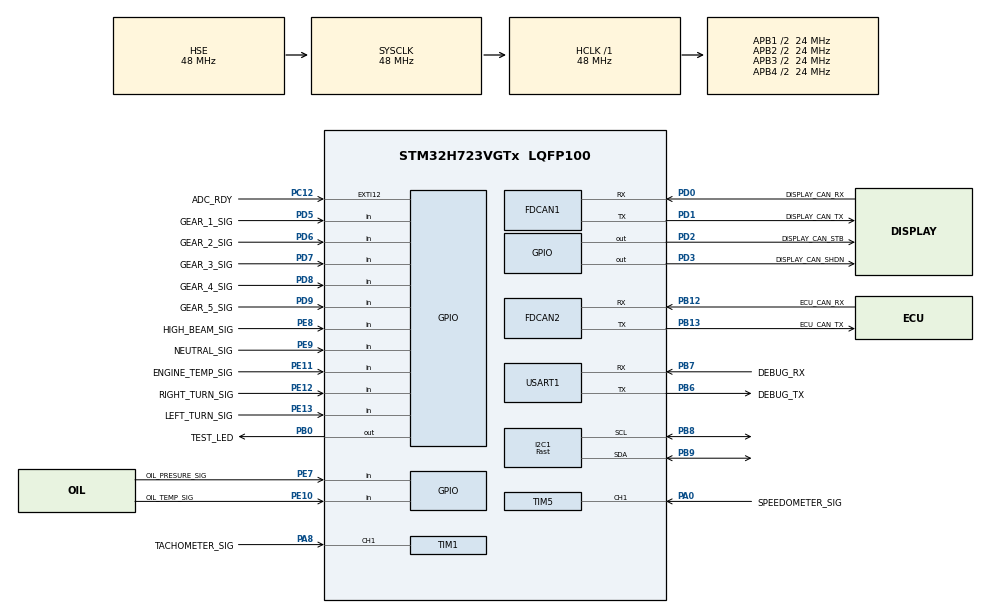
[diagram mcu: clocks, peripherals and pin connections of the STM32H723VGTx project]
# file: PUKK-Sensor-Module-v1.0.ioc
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CORTEX_M7.default_mode_Activation=1
FDCAN1.AutoRetransmission=ENABLE
FDCAN1.CalculateBaudRateNominal=198000
FDCAN1.CalculateTimeBitNominal=5050
FDCAN1.CalculateTimeQuantumNominal=50.505050505050505
FDCAN1.DataTimeSeg1=2
FDCAN1.FrameFormat=FDCAN_FRAME_FD_NO_BRS
FDCAN1.NominalPrescaler=1
FDCAN1.NominalTimeSeg1=86
FDCAN1.NominalTimeSeg2=13
FDCAN1.TxElmtSize=FDCAN_DATA_BYTES_12
FDCAN2.AutoRetransmission=ENABLE
FDCAN2.CalculateBaudRateNominal=198000
FDCAN2.CalculateTimeBitNominal=5050
FDCAN2.CalculateTimeQuantumNominal=50.505050505050505
FDCAN2.DataPrescaler=25
FDCAN2.DataTimeSeg1=2
FDCAN2.FrameFormat=FDCAN_FRAME_FD_NO_BRS
FDCAN2.MessageRAMOffset=11
FDCAN2.NominalPrescaler=1
FDCAN2.NominalSyncJumpWidth=13
FDCAN2.NominalTimeSeg1=86
FDCAN2.NominalTimeSeg2=13
FDCAN2.RxFifo1ElmtSize=FDCAN_DATA_BYTES_12
FDCAN2.RxFifo1ElmtsNbr=1
FDCAN2.TxElmtSize=FDCAN_DATA_BYTES_12
I2C1.I2C_Speed_Mode=I2C_Fast
I2C1.Timing=0x00200C28
Mcu.Family=STM32H7
Mcu.Name=STM32H723VGTx
Mcu.Package=LQFP100
NVIC.EXTI15_10_IRQn=true\:0\:0\:false\:false\:true\:true\:true\:true
NVIC.FDCAN1_IT0_IRQn=true\:0\:0\:false\:false\:true\:true\:true\:true
NVIC.FDCAN2_IT0_IRQn=true\:0\:0\:false\:false\:true\:true\:true\:true
NVIC.PriorityGroup=NVIC_PRIORITYGROUP_4
NVIC.TIM6_DAC_IRQn=true\:0\:0\:false\:false\:true\:true\:true\:true
NVIC.USART1_IRQn=true\:0\:0\:false\:false\:true\:true\:true\:true
PA0.GPIO_Label=SPEEDOMETER_SIG
PA0.Signal=S_TIM5_CH1
PA13(JTMS/SWDIO).Mode=Serial_Wire
PA13(JTMS/SWDIO).Signal=DEBUG_JTMS-SWDIO
PA14(JTCK/SWCLK).Mode=Serial_Wire
PA14(JTCK/SWCLK).Signal=DEBUG_JTCK-SWCLK
PA8.GPIO_Label=TACHOMETER_SIG
PA8.Signal=S_TIM1_CH1
PB0.GPIO_Label=TEST_LED
PB0.Signal=GPIO_Output
PB12.GPIO_Label=ECU_CAN_RX
PB12.Mode=FDCAN_Activate
PB12.Signal=FDCAN2_RX
PB13.GPIO_Label=ECU_CAN_TX
PB13.Mode=FDCAN_Activate
PB13.Signal=FDCAN2_TX
PB3(JTDO/TRACESWO).Signal=DEBUG_JTDO-SWO
PB6.GPIO_Label=DEBUG_TX
PB6.Mode=Asynchronous
PB6.Signal=USART1_TX
PB7.GPIO_Label=DEBUG_RX
PB7.Mode=Asynchronous
PB7.Signal=USART1_RX
PB8.GPIO_Speed=GPIO_SPEED_FREQ_LOW
PB8.Mode=I2C
PB8.Signal=I2C1_SCL
PB9.GPIO_Speed=GPIO_SPEED_FREQ_LOW
PB9.Mode=I2C
PB9.Signal=I2C1_SDA
PC12.GPIO_Label=ADC_RDY
PC12.GPIO_ModeDefaultEXTI=GPIO_MODE_IT_RISING
PC12.Signal=GPXTI12
PD0.GPIO_Label=DISPLAY_CAN_RX
PD0.Mode=FDCAN_Activate
PD0.Signal=FDCAN1_RX
PD1.GPIO_Label=DISPLAY_CAN_TX
PD1.Mode=FDCAN_Activate
PD1.Signal=FDCAN1_TX
PD2.GPIO_Label=DISPLAY_CAN_STB
PD2.PinState=GPIO_PIN_SET
PD2.Signal=GPIO_Output
PD3.GPIO_Label=DISPLAY_CAN_SHDN
PD3.Signal=GPIO_Output
PD5.GPIO_Label=GEAR_1_SIG
PD5.Signal=GPIO_Input
PD6.GPIO_Label=GEAR_2_SIG
PD6.Signal=GPIO_Input
PD7.GPIO_Label=GEAR_3_SIG
PD7.Signal=GPIO_Input
PD8.GPIO_Label=GEAR_4_SIG
PD8.Signal=GPIO_Input
PD9.GPIO_Label=GEAR_5_SIG
PD9.Signal=GPIO_Input
PE10.GPIO_Label=OIL_TEMP_SIG
PE10.Signal=GPIO_Input
PE11.GPIO_Label=ENGINE_TEMP_SIG
PE11.Signal=GPIO_Input
PE12.GPIO_Label=RIGHT_TURN_SIG
PE12.Signal=GPIO_Input
PE13.GPIO_Label=LEFT_TURN_SIG
PE13.Signal=GPIO_Input
PE7.GPIO_Label=OIL_PRESURE_SIG
PE7.Signal=GPIO_Input
PE8.GPIO_Label=HIGH_BEAM_SIG
PE8.Signal=GPIO_Input
PE9.GPIO_Label=NEUTRAL_SIG
PE9.Signal=GPIO_Input
PH0-OSC_IN.Mode=HSE-External-Oscillator
PH0-OSC_IN.Signal=RCC_OSC_IN
PH1-OSC_OUT.Mode=HSE-External-Oscillator
PH1-OSC_OUT.Signal=RCC_OSC_OUT
ProjectManager.HeapSize=0x200
ProjectManager.StackSize=0x400
ProjectManager.TargetToolchain=STM32CubeIDE
RCC.ADCFreq_Value=96750000
RCC.APB1Freq_Value=24000000
RCC.APB2Freq_Value=24000000
RCC.APB3Freq_Value=24000000
RCC.APB4Freq_Value=24000000
RCC.CortexFreq_Value=48000000
RCC.D1PPRE=RCC_APB3_DIV2
RCC.D2PPRE1=RCC_APB1_DIV2
RCC.D2PPRE2=RCC_APB2_DIV2
RCC.D3PPRE=RCC_APB4_DIV2
RCC.DIVM1=4
RCC.DIVN1=16
RCC.DIVP1=1
RCC.DIVQ1=10
RCC.HCLKFreq_Value=48000000
RCC.HSE_VALUE=48000000
RCC.PLL2FRACN=0
RCC.PLL3FRACN=0
RCC.PLLFRACN=4096
RCC.PLLSourceVirtual=RCC_PLLSOURCE_HSE
RCC.SYSCLKFreq_VALUE=48000000
RCC.SYSCLKSource=RCC_SYSCLKSOURCE_HSE
RCC.USBFreq_Value=19800000
SH.S_TIM1_CH1.0=TIM1_CH1,TriggerSource_TI1ED
SH.S_TIM5_CH1.0=TIM5_CH1,TriggerSource_TI1ED
TIM6.Period=47999
USART1.VirtualMode-Asynchronous=VM_ASYNC
VP_MEMORYMAP_VS_MEMORYMAP.Mode=CurAppReg
VP_TIM1_VS_ControllerModeClock.Mode=Clock Mode
VP_TIM5_VS_ControllerModeClock.Mode=Clock Mode
VP_TIM6_VS_ClockSourceINT.Mode=Enable_Timer
board=custom

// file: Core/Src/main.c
/* USER CODE BEGIN Header */
/**
  ******************************************************************************
  * @file           : main.c
  * @brief          : Main program body
  ******************************************************************************
  * @attention
  *
  * Copyright (c) 2025 STMicroelectronics.
  * All rights reserved.
  *
  * This software is licensed under terms that can be found in the LICENSE file
  * in the root directory of this software component.
  * If no LICENSE file comes with this software, it is provided AS-IS.
  *
  ******************************************************************************
  */
/* USER CODE END Header */
#include "main.h"

/* USER CODE BEGIN Includes */
#include <stdio.h>
#include <stdarg.h>

#include "App.h"
#include "CAN_bus.h"
/* USER CODE END Includes */

/* USER CODE BEGIN PD */
#define TAG       "[ MAIN ] "
/* USER CODE END PD */

/* USER CODE BEGIN PV */

FDCAN_HandleTypeDef hfdcan1;
FDCAN_HandleTypeDef hfdcan2;

FDCAN_TxHeaderTypeDef TxHeader1;

FDCAN_TxHeaderTypeDef TxHeader2;

I2C_HandleTypeDef hi2c1;

TIM_HandleTypeDef htim1;
TIM_HandleTypeDef htim5;
TIM_HandleTypeDef htim6;

UART_HandleTypeDef huart1;

/* USER CODE END PV */

void SystemClock_Config(void);
static void MPU_Config(void);
static void MX_GPIO_Init(void);
static void MX_FDCAN1_Init(void);
static void MX_FDCAN2_Init(void);
static void MX_I2C1_Init(void);
static void MX_USART1_UART_Init(void);
static void MX_TIM6_Init(void);
static void MX_TIM1_Init(void);
static void MX_TIM5_Init(void);

/* USER CODE BEGIN 0 */

//void itm_printf(uint32_t port, const char* format, ...) {
//    char buffer[256]; // Temporary buffer for formatted string
//    va_list args;
//    va_start(args, format);
//    int length = vsnprintf(buffer, sizeof(buffer), format, args);
//    va_end(args);
//
//    for (int i = 0; i < length; ++i) {
//        ITM_SendChar((uint8_t)buffer[i]);
//
//    }
//}

void itm_printf(uint32_t port, const char* format, ...) {
    char buffer[256]; // Temporary buffer for formatted string
    va_list args;
    va_start(args, format);
    int length = vsnprintf(buffer, sizeof(buffer), format, args);
    va_end(args);

    for (int i = 0; i < length; ++i) {
        ITM_SendChar(port, (uint8_t)buffer[i]);
    }
}

// redirecting standard functions on debug_uart
#ifdef __GNUC__
int __io_putchar(int ch)
#else
int fputc(int ch, FILE *f)
#endif
{
    HAL_UART_Transmit(&huart1, (uint8_t*)&ch, 1, 10);
    return ch;
}

#ifdef __GNUC__
int __io_getchar(void)
#else
int fgetc(FILE *f)
#endif
{
    uint8_t ch = 0;
    HAL_UART_Receive(&huart1, &ch, 1, 10);
    return ch;
}

// non-blocking test led blink function
void blink_test_led()
{
	static uint32_t timeStamp = 0;
	uint32_t now = HAL_GetTick();

	if((now - timeStamp) > (CHECK_FLAG(OP_RUNNING_FLAG_BIT|CAN_COMM_FLAG_BIT) ? OP_BLINK_TIME : DEFAULT_BLINK_TIME))
	{
		HAL_GPIO_TogglePin(TEST_LED_GPIO_Port, TEST_LED_Pin);
		timeStamp = now;

	}
}
/* USER CODE END 0 */

int main(void)
{

  /* MPU Configuration--------------------------------------------------------*/
  MPU_Config();

  /* MCU Configuration--------------------------------------------------------*/

  /* Reset of all peripherals, Initializes the Flash interface and the Systick. */
  HAL_Init();

  /* Configure the system clock */
  SystemClock_Config();

  printf("HSE_VALUE = %lu Hz\n", (uint32_t)HSE_VALUE);

  /* Initialize all configured peripherals */
  MX_GPIO_Init();

  HAL_GPIO_WritePin(DISPLAY_CAN_STB_GPIO_Port, DISPLAY_CAN_STB_Pin, GPIO_PIN_RESET);

  MX_FDCAN1_Init();
  MX_FDCAN2_Init();
  MX_I2C1_Init();
  MX_USART1_UART_Init();
  MX_TIM6_Init();
  MX_TIM1_Init();
  MX_TIM5_Init();
  /* USER CODE BEGIN 2 */
  INIT_ITM_DEBUG(ITM_CH_1, ITM_CH_2, ITM_CH_3, ITM_CH_4);
  app_init(&hfdcan1, &hfdcan2, &hi2c1, &htim1, &htim5, &htim6);

  console_init(&huart1);

  LOG_ITM_1("\nLOG_ITM_1\n");
  LOG_ITM_2("\nLOG_ITM_2\n");
  LOG_ITM_3("\nLOG_ITM_3\n");

//  Can1TxData1[0]  = 0;
//  Can1TxData1[1]  = 0xAD;
//  Can1TxData1[2]  = 0;
//  Can1TxData1[3]  = 0xAB;
//  Can1TxData1[4]  = 0;
//  Can1TxData1[5]  = 0xAC;
//  Can1TxData1[6]  = 0;
//  Can1TxData1[7]  = 0xAE;
//  status2 = HAL_FDCAN_AddMessageToTxFifoQ(&hfdcan1, &TxHeader1, Can1TxData1);
//	if(status2 != HAL_OK) {
//		error_count2++;
//		LOG_ITM_1("CAN2 TX Error #%lu: 0x%08lX\n", error_count2, hfdcan1.ErrorCode);
//
//		if (hfdcan1.ErrorCode & HAL_FDCAN_ERROR_FIFO_FULL) {
//			LOG_ITM_1("CAN2: TX FIFO Full - waiting...\n");
//			HAL_Delay(10);
//		}
//	} else {
//		LOG_ITM_1("CAN2: Message sent successfully\n");
//	}

  while (1)
  {

    /* USER CODE END WHILE */

    /* USER CODE BEGIN 3 */
	  blink_test_led();
	  app_execute(); // CAN BUS Transmission is also in this function

//		HAL_Delay(250);

  }
  /* USER CODE END 3 */
}

void SystemClock_Config(void)
{
  RCC_OscInitTypeDef RCC_OscInitStruct = {0};
  RCC_ClkInitTypeDef RCC_ClkInitStruct = {0};

  /** Supply configuration update enable
  */
  HAL_PWREx_ConfigSupply(PWR_LDO_SUPPLY);

  /** Configure the main internal regulator output voltage
  */
  __HAL_PWR_VOLTAGESCALING_CONFIG(PWR_REGULATOR_VOLTAGE_SCALE3);

  while(!__HAL_PWR_GET_FLAG(PWR_FLAG_VOSRDY)) {}

  /** Initializes the RCC Oscillators according to the specified parameters
  * in the RCC_OscInitTypeDef structure.
  */
  RCC_OscInitStruct.OscillatorType = RCC_OSCILLATORTYPE_HSE;
  RCC_OscInitStruct.HSEState = RCC_HSE_ON;
  RCC_OscInitStruct.PLL.PLLState = RCC_PLL_ON;
  RCC_OscInitStruct.PLL.PLLSource = RCC_PLLSOURCE_HSE;
  RCC_OscInitStruct.PLL.PLLM = 3;
  RCC_OscInitStruct.PLL.PLLN = 12;
  RCC_OscInitStruct.PLL.PLLP = 1;
  RCC_OscInitStruct.PLL.PLLQ = 4;
  RCC_OscInitStruct.PLL.PLLR = 2;
  RCC_OscInitStruct.PLL.PLLRGE = RCC_PLL1VCIRANGE_3;
  RCC_OscInitStruct.PLL.PLLVCOSEL = RCC_PLL1VCOWIDE;
  RCC_OscInitStruct.PLL.PLLFRACN = 0;
  if (HAL_RCC_OscConfig(&RCC_OscInitStruct) != HAL_OK)
  {
    Error_Handler();
  }

  /** Initializes the CPU, AHB and APB buses clocks
  */
  RCC_ClkInitStruct.ClockType = RCC_CLOCKTYPE_HCLK|RCC_CLOCKTYPE_SYSCLK
                              |RCC_CLOCKTYPE_PCLK1|RCC_CLOCKTYPE_PCLK2
                              |RCC_CLOCKTYPE_D3PCLK1|RCC_CLOCKTYPE_D1PCLK1;
  RCC_ClkInitStruct.SYSCLKSource = RCC_SYSCLKSOURCE_HSE;
  RCC_ClkInitStruct.SYSCLKDivider = RCC_SYSCLK_DIV1;
  RCC_ClkInitStruct.AHBCLKDivider = RCC_HCLK_DIV1;
  RCC_ClkInitStruct.APB3CLKDivider = RCC_APB3_DIV2;
  RCC_ClkInitStruct.APB1CLKDivider = RCC_APB1_DIV2;
  RCC_ClkInitStruct.APB2CLKDivider = RCC_APB2_DIV2;
  RCC_ClkInitStruct.APB4CLKDivider = RCC_APB4_DIV2;

  if (HAL_RCC_ClockConfig(&RCC_ClkInitStruct, FLASH_LATENCY_1) != HAL_OK)
  {
    Error_Handler();
  }
}

// FDCAN1 Configuration Fixes
static void MX_FDCAN1_Init(void)
{

	hfdcan1.Instance = FDCAN1;
	hfdcan1.Init.FrameFormat = FDCAN_FRAME_CLASSIC;
	hfdcan1.Init.Mode = FDCAN_MODE_NORMAL;
	hfdcan1.Init.AutoRetransmission = ENABLE;
	hfdcan1.Init.TransmitPause = DISABLE;
	hfdcan1.Init.ProtocolException = DISABLE;

	//  Same 25 kbps timing as FDCAN1
	hfdcan1.Init.NominalPrescaler = 120;
	hfdcan1.Init.NominalSyncJumpWidth = 1;
	hfdcan1.Init.NominalTimeSeg1 = 13;
	hfdcan1.Init.NominalTimeSeg2 = 2;

	hfdcan1.Init.DataPrescaler = 1;
	hfdcan1.Init.DataSyncJumpWidth = 1;
	hfdcan1.Init.DataTimeSeg1 = 1;
	hfdcan1.Init.DataTimeSeg2 = 1;

	hfdcan1.Init.MessageRAMOffset = 0;
	hfdcan1.Init.StdFiltersNbr = 1;
	hfdcan1.Init.ExtFiltersNbr = 0;
	hfdcan1.Init.RxFifo0ElmtsNbr = 8;
	hfdcan1.Init.RxFifo0ElmtSize = FDCAN_DATA_BYTES_8;
	hfdcan1.Init.RxFifo1ElmtsNbr = 0;
	hfdcan1.Init.RxFifo1ElmtSize = FDCAN_DATA_BYTES_8;
	hfdcan1.Init.RxBuffersNbr = 0;
	hfdcan1.Init.RxBufferSize = FDCAN_DATA_BYTES_8;
	hfdcan1.Init.TxEventsNbr = 0;
	hfdcan1.Init.TxBuffersNbr = 0;
	hfdcan1.Init.TxFifoQueueElmtsNbr = 10;
	hfdcan1.Init.TxFifoQueueMode = FDCAN_TX_FIFO_OPERATION;
	hfdcan1.Init.TxElmtSize = FDCAN_DATA_BYTES_8;

	if (HAL_FDCAN_Init(&hfdcan1) != HAL_OK) {
		Error_Handler();
	}

	// RX Filter Configuration
	FDCAN_FilterTypeDef sFilterConfig;
	sFilterConfig.IdType = FDCAN_STANDARD_ID;
	sFilterConfig.FilterIndex = 0;
	sFilterConfig.FilterType = FDCAN_FILTER_MASK;
	sFilterConfig.FilterConfig = FDCAN_FILTER_TO_RXFIFO0;
	sFilterConfig.FilterID1 = 0x000;
	sFilterConfig.FilterID2 = 0x000; // Accept all IDs

	if (HAL_FDCAN_ConfigFilter(&hfdcan1, &sFilterConfig) != HAL_OK) {
		Error_Handler();
	}

	HAL_FDCAN_ConfigGlobalFilter(&hfdcan1, FDCAN_REJECT, FDCAN_REJECT,
								FDCAN_REJECT_REMOTE, FDCAN_REJECT_REMOTE);

	if(HAL_FDCAN_Start(&hfdcan1) != HAL_OK) {
		Error_Handler();
	}

	if(HAL_FDCAN_ActivateNotification(&hfdcan1, FDCAN_IT_RX_FIFO0_NEW_MESSAGE, 0) != HAL_OK) {
		Error_Handler();
	}

	// TX Header Configuration
	TxHeader1.Identifier = 0x322; // Set as an Example later in this code it is changed
	TxHeader1.IdType = FDCAN_STANDARD_ID;
	TxHeader1.TxFrameType = FDCAN_DATA_FRAME;
	TxHeader1.DataLength = FDCAN_DLC_BYTES_8;              //  8 bytes max
	TxHeader1.ErrorStateIndicator = FDCAN_ESI_ACTIVE;
	TxHeader1.BitRateSwitch = FDCAN_BRS_OFF;
	TxHeader1.FDFormat = FDCAN_CLASSIC_CAN;                //  Classic CAN
	TxHeader1.TxEventFifoControl = FDCAN_NO_TX_EVENTS;
	TxHeader1.MessageMarker = 0;
}

// FDCAN2 Configuration Fixes
static void MX_FDCAN2_Init(void)
{
	hfdcan2.Instance = FDCAN2;
	hfdcan2.Init.FrameFormat = FDCAN_FRAME_CLASSIC;
	hfdcan2.Init.Mode = FDCAN_MODE_NORMAL;
	hfdcan2.Init.AutoRetransmission = ENABLE;
	hfdcan2.Init.TransmitPause = DISABLE;
	hfdcan2.Init.ProtocolException = DISABLE;

	//  Same 25 kbps timing as FDCAN1
	hfdcan2.Init.NominalPrescaler = 120;
	hfdcan2.Init.NominalSyncJumpWidth = 1;
	hfdcan2.Init.NominalTimeSeg1 = 13;
	hfdcan2.Init.NominalTimeSeg2 = 2;

	hfdcan2.Init.DataPrescaler = 1;
	hfdcan2.Init.DataSyncJumpWidth = 1;
	hfdcan2.Init.DataTimeSeg1 = 1;
	hfdcan2.Init.DataTimeSeg2 = 1;

	hfdcan2.Init.MessageRAMOffset = 256;
	hfdcan2.Init.StdFiltersNbr = 1;
	hfdcan2.Init.ExtFiltersNbr = 0;
	hfdcan2.Init.RxFifo0ElmtsNbr = 0;
	hfdcan2.Init.RxFifo0ElmtSize = FDCAN_DATA_BYTES_8;
	hfdcan2.Init.RxFifo1ElmtsNbr = 8;
	hfdcan2.Init.RxFifo1ElmtSize = FDCAN_DATA_BYTES_8;
	hfdcan2.Init.RxBuffersNbr = 0;
	hfdcan2.Init.RxBufferSize = FDCAN_DATA_BYTES_8;
	hfdcan2.Init.TxEventsNbr = 0;
	hfdcan2.Init.TxBuffersNbr = 0;
	hfdcan2.Init.TxFifoQueueElmtsNbr = 10;
	hfdcan2.Init.TxFifoQueueMode = FDCAN_TX_FIFO_OPERATION;
	hfdcan2.Init.TxElmtSize = FDCAN_DATA_BYTES_8;

	if (HAL_FDCAN_Init(&hfdcan2) != HAL_OK) {
		Error_Handler();
	}

	// RX Filter Configuration
	FDCAN_FilterTypeDef sFilterConfig;
	sFilterConfig.IdType = FDCAN_STANDARD_ID;
	sFilterConfig.FilterIndex = 0;
	sFilterConfig.FilterType = FDCAN_FILTER_MASK;
	sFilterConfig.FilterConfig = FDCAN_FILTER_TO_RXFIFO1;
	sFilterConfig.FilterID1 = 0x000;
	sFilterConfig.FilterID2 = 0x000; // Accept all IDs

	if (HAL_FDCAN_ConfigFilter(&hfdcan2, &sFilterConfig) != HAL_OK) {
		Error_Handler();
	}

	HAL_FDCAN_ConfigGlobalFilter(&hfdcan2, FDCAN_REJECT, FDCAN_REJECT,
								FDCAN_REJECT_REMOTE, FDCAN_REJECT_REMOTE);

	if(HAL_FDCAN_Start(&hfdcan2) != HAL_OK) {
		Error_Handler();
	}

	if(HAL_FDCAN_ActivateNotification(&hfdcan2, FDCAN_IT_RX_FIFO1_NEW_MESSAGE, 0) != HAL_OK) {
		Error_Handler();
	}

	// TX Header Configuration
	TxHeader2.Identifier = 0x200; // set as an example later on it can be changed in code
	TxHeader2.IdType = FDCAN_STANDARD_ID;
	TxHeader2.TxFrameType = FDCAN_DATA_FRAME;
	TxHeader2.DataLength = FDCAN_DLC_BYTES_8;              //  8 bytes max
	TxHeader2.ErrorStateIndicator = FDCAN_ESI_ACTIVE;
	TxHeader2.BitRateSwitch = FDCAN_BRS_OFF;
	TxHeader2.FDFormat = FDCAN_CLASSIC_CAN;                //  Classic CAN
	TxHeader2.TxEventFifoControl = FDCAN_NO_TX_EVENTS;
	TxHeader2.MessageMarker = 0;
}

static void MX_I2C1_Init(void)
{

  hi2c1.Instance = I2C1;
  hi2c1.Init.Timing = 0x00200C28;
  hi2c1.Init.OwnAddress1 = 0;
  hi2c1.Init.AddressingMode = I2C_ADDRESSINGMODE_7BIT;
  hi2c1.Init.DualAddressMode = I2C_DUALADDRESS_DISABLE;
  hi2c1.Init.OwnAddress2 = 0;
  hi2c1.Init.OwnAddress2Masks = I2C_OA2_NOMASK;
  hi2c1.Init.GeneralCallMode = I2C_GENERALCALL_DISABLE;
  hi2c1.Init.NoStretchMode = I2C_NOSTRETCH_DISABLE;
  if (HAL_I2C_Init(&hi2c1) != HAL_OK)
  {
    Error_Handler();
  }

  /** Configure Analogue filter
  */
  if (HAL_I2CEx_ConfigAnalogFilter(&hi2c1, I2C_ANALOGFILTER_ENABLE) != HAL_OK)
  {
    Error_Handler();
  }

  /** Configure Digital filter
  */
  if (HAL_I2CEx_ConfigDigitalFilter(&hi2c1, 0) != HAL_OK)
  {
    Error_Handler();
  }

}

static void MX_TIM1_Init(void)
{

  TIM_SlaveConfigTypeDef sSlaveConfig = {0};
  TIM_MasterConfigTypeDef sMasterConfig = {0};

  htim1.Instance = TIM1;
  htim1.Init.Prescaler = 0;
  htim1.Init.CounterMode = TIM_COUNTERMODE_UP;
  htim1.Init.Period = 65535;
  htim1.Init.ClockDivision = TIM_CLOCKDIVISION_DIV1;
  htim1.Init.RepetitionCounter = 0;
  htim1.Init.AutoReloadPreload = TIM_AUTORELOAD_PRELOAD_DISABLE;
  if (HAL_TIM_Base_Init(&htim1) != HAL_OK)
  {
    Error_Handler();
  }
  sSlaveConfig.SlaveMode = TIM_SLAVEMODE_EXTERNAL1;
  sSlaveConfig.InputTrigger = TIM_TS_TI1F_ED;
  sSlaveConfig.TriggerFilter = 0;
  if (HAL_TIM_SlaveConfigSynchro(&htim1, &sSlaveConfig) != HAL_OK)
  {
    Error_Handler();
  }
  sMasterConfig.MasterOutputTrigger = TIM_TRGO_RESET;
  sMasterConfig.MasterOutputTrigger2 = TIM_TRGO2_RESET;
  sMasterConfig.MasterSlaveMode = TIM_MASTERSLAVEMODE_DISABLE;
  if (HAL_TIMEx_MasterConfigSynchronization(&htim1, &sMasterConfig) != HAL_OK)
  {
    Error_Handler();
  }

}

static void MX_TIM5_Init(void)
{

  TIM_SlaveConfigTypeDef sSlaveConfig = {0};
  TIM_MasterConfigTypeDef sMasterConfig = {0};

  htim5.Instance = TIM5;
  htim5.Init.Prescaler = 0;
  htim5.Init.CounterMode = TIM_COUNTERMODE_UP;
  htim5.Init.Period = 4294967295;
  htim5.Init.ClockDivision = TIM_CLOCKDIVISION_DIV1;
  htim5.Init.AutoReloadPreload = TIM_AUTORELOAD_PRELOAD_DISABLE;
  if (HAL_TIM_Base_Init(&htim5) != HAL_OK)
  {
    Error_Handler();
  }
  sSlaveConfig.SlaveMode = TIM_SLAVEMODE_EXTERNAL1;
  sSlaveConfig.InputTrigger = TIM_TS_TI1F_ED;
  sSlaveConfig.TriggerFilter = 0;
  if (HAL_TIM_SlaveConfigSynchro(&htim5, &sSlaveConfig) != HAL_OK)
  {
    Error_Handler();
  }
  sMasterConfig.MasterOutputTrigger = TIM_TRGO_RESET;
  sMasterConfig.MasterSlaveMode = TIM_MASTERSLAVEMODE_DISABLE;
  if (HAL_TIMEx_MasterConfigSynchronization(&htim5, &sMasterConfig) != HAL_OK)
  {
    Error_Handler();
  }

}

static void MX_TIM6_Init(void)
{

  /* USER CODE BEGIN TIM6_Init 0 */
#if(!USE_SYSTICK_HANDLER)
  LOG_ITM_1(TAG "Using TIM6 as base timer\n");
  /* USER CODE END TIM6_Init 0 */

  TIM_MasterConfigTypeDef sMasterConfig = {0};

  htim6.Instance = TIM6;
  htim6.Init.Prescaler = 0;
  htim6.Init.CounterMode = TIM_COUNTERMODE_UP;
  htim6.Init.Period = 47999;
  htim6.Init.AutoReloadPreload = TIM_AUTORELOAD_PRELOAD_DISABLE;
  if (HAL_TIM_Base_Init(&htim6) != HAL_OK)
  {
    Error_Handler();
  }
  sMasterConfig.MasterOutputTrigger = TIM_TRGO_RESET;
  sMasterConfig.MasterSlaveMode = TIM_MASTERSLAVEMODE_DISABLE;
  if (HAL_TIMEx_MasterConfigSynchronization(&htim6, &sMasterConfig) != HAL_OK)
  {
    Error_Handler();
  }
  /* USER CODE BEGIN TIM6_Init 2 */
#else
  LOG_ITM_1(TAG "Using SYSTICK as base timer\n");
#endif
  /* USER CODE END TIM6_Init 2 */

}

static void MX_USART1_UART_Init(void)
{

  huart1.Instance = USART1;
  huart1.Init.BaudRate = 115200;
  huart1.Init.WordLength = UART_WORDLENGTH_8B;
  huart1.Init.StopBits = UART_STOPBITS_1;
  huart1.Init.Parity = UART_PARITY_NONE;
  huart1.Init.Mode = UART_MODE_TX_RX;
  huart1.Init.HwFlowCtl = UART_HWCONTROL_NONE;
  huart1.Init.OverSampling = UART_OVERSAMPLING_16;
  huart1.Init.OneBitSampling = UART_ONE_BIT_SAMPLE_DISABLE;
  huart1.Init.ClockPrescaler = UART_PRESCALER_DIV1;
  huart1.AdvancedInit.AdvFeatureInit = UART_ADVFEATURE_NO_INIT;
  if (HAL_UART_Init(&huart1) != HAL_OK)
  {
    Error_Handler();
  }
  if (HAL_UARTEx_SetTxFifoThreshold(&huart1, UART_TXFIFO_THRESHOLD_1_8) != HAL_OK)
  {
    Error_Handler();
  }
  if (HAL_UARTEx_SetRxFifoThreshold(&huart1, UART_RXFIFO_THRESHOLD_1_8) != HAL_OK)
  {
    Error_Handler();
  }
  if (HAL_UARTEx_DisableFifoMode(&huart1) != HAL_OK)
  {
    Error_Handler();
  }

}

static void MX_GPIO_Init(void)
{
  GPIO_InitTypeDef GPIO_InitStruct = {0};

  /* GPIO Ports Clock Enable */
  __HAL_RCC_GPIOH_CLK_ENABLE();
  __HAL_RCC_GPIOA_CLK_ENABLE();
  __HAL_RCC_GPIOB_CLK_ENABLE();
  __HAL_RCC_GPIOE_CLK_ENABLE();
  __HAL_RCC_GPIOD_CLK_ENABLE();
  __HAL_RCC_GPIOC_CLK_ENABLE();

  /*Configure GPIO pin Output Level */
  HAL_GPIO_WritePin(TEST_LED_GPIO_Port, TEST_LED_Pin, GPIO_PIN_RESET);

  /*Configure GPIO pin Output Level */
  HAL_GPIO_WritePin(DISPLAY_CAN_STB_GPIO_Port, DISPLAY_CAN_STB_Pin, GPIO_PIN_SET);

  /*Configure GPIO pin Output Level */
  HAL_GPIO_WritePin(DISPLAY_CAN_SHDN_GPIO_Port, DISPLAY_CAN_SHDN_Pin, GPIO_PIN_RESET);

  /*Configure GPIO pin : TEST_LED_Pin */
  GPIO_InitStruct.Pin = TEST_LED_Pin;
  GPIO_InitStruct.Mode = GPIO_MODE_OUTPUT_PP;
  GPIO_InitStruct.Pull = GPIO_NOPULL;
  GPIO_InitStruct.Speed = GPIO_SPEED_FREQ_LOW;
  HAL_GPIO_Init(TEST_LED_GPIO_Port, &GPIO_InitStruct);

  /*Configure GPIO pins : OIL_PRESURE_SIG_Pin HIGH_BEAM_SIG_Pin NEUTRAL_SIG_Pin OIL_TEMP_SIG_Pin
                           ENGINE_TEMP_SIG_Pin RIGHT_TURN_SIG_Pin LEFT_TURN_SIG_Pin */
  GPIO_InitStruct.Pin = OIL_PRESURE_SIG_Pin|HIGH_BEAM_SIG_Pin|NEUTRAL_SIG_Pin|OIL_TEMP_SIG_Pin
                          |ENGINE_TEMP_SIG_Pin|RIGHT_TURN_SIG_Pin|LEFT_TURN_SIG_Pin;
  GPIO_InitStruct.Mode = GPIO_MODE_INPUT;
  GPIO_InitStruct.Pull = GPIO_NOPULL;
  HAL_GPIO_Init(GPIOE, &GPIO_InitStruct);

  /*Configure GPIO pins : GEAR_4_SIG_Pin GEAR_5_SIG_Pin GEAR_1_SIG_Pin GEAR_2_SIG_Pin
                           GEAR_3_SIG_Pin */
  GPIO_InitStruct.Pin = GEAR_4_SIG_Pin|GEAR_5_SIG_Pin|GEAR_1_SIG_Pin|GEAR_2_SIG_Pin
                          |GEAR_3_SIG_Pin;
  GPIO_InitStruct.Mode = GPIO_MODE_INPUT;
  GPIO_InitStruct.Pull = GPIO_NOPULL;
  HAL_GPIO_Init(GPIOD, &GPIO_InitStruct);

  /*Configure GPIO pin : ADC_RDY_Pin */
  GPIO_InitStruct.Pin = ADC_RDY_Pin;
  GPIO_InitStruct.Mode = GPIO_MODE_IT_RISING;
  GPIO_InitStruct.Pull = GPIO_NOPULL;
  HAL_GPIO_Init(ADC_RDY_GPIO_Port, &GPIO_InitStruct);

  /*Configure GPIO pins : DISPLAY_CAN_STB_Pin DISPLAY_CAN_SHDN_Pin */
  GPIO_InitStruct.Pin = DISPLAY_CAN_STB_Pin|DISPLAY_CAN_SHDN_Pin;
  GPIO_InitStruct.Mode = GPIO_MODE_OUTPUT_PP;
  GPIO_InitStruct.Pull = GPIO_NOPULL;
  GPIO_InitStruct.Speed = GPIO_SPEED_FREQ_LOW;
  HAL_GPIO_Init(GPIOD, &GPIO_InitStruct);

  /* EXTI interrupt init*/
  HAL_NVIC_SetPriority(ADC_RDY_EXTI_IRQn, 0, 0);
  HAL_NVIC_EnableIRQ(ADC_RDY_EXTI_IRQn);

}

 /* MPU Configuration */

void MPU_Config(void)
{
  MPU_Region_InitTypeDef MPU_InitStruct = {0};

  /* Disables the MPU */
  HAL_MPU_Disable();

  /** Initializes and configures the Region and the memory to be protected
  */
  MPU_InitStruct.Enable = MPU_REGION_ENABLE;
  MPU_InitStruct.Number = MPU_REGION_NUMBER0;
  MPU_InitStruct.BaseAddress = 0x0;
  MPU_InitStruct.Size = MPU_REGION_SIZE_4GB;
  MPU_InitStruct.SubRegionDisable = 0x87;
  MPU_InitStruct.TypeExtField = MPU_TEX_LEVEL0;
  MPU_InitStruct.AccessPermission = MPU_REGION_NO_ACCESS;
  MPU_InitStruct.DisableExec = MPU_INSTRUCTION_ACCESS_DISABLE;
  MPU_InitStruct.IsShareable = MPU_ACCESS_SHAREABLE;
  MPU_InitStruct.IsCacheable = MPU_ACCESS_NOT_CACHEABLE;
  MPU_InitStruct.IsBufferable = MPU_ACCESS_NOT_BUFFERABLE;

  HAL_MPU_ConfigRegion(&MPU_InitStruct);
  /* Enables the MPU */
  HAL_MPU_Enable(MPU_PRIVILEGED_DEFAULT);

}

void Error_Handler(void)
{
  /* USER CODE BEGIN Error_Handler_Debug */
  /* User can add his own implementation to report the HAL error return state */
  __disable_irq();
  LOG_ITM_1("HARD FAULT!!!");
  while (1)
  {
  }
  /* USER CODE END Error_Handler_Debug */
}
